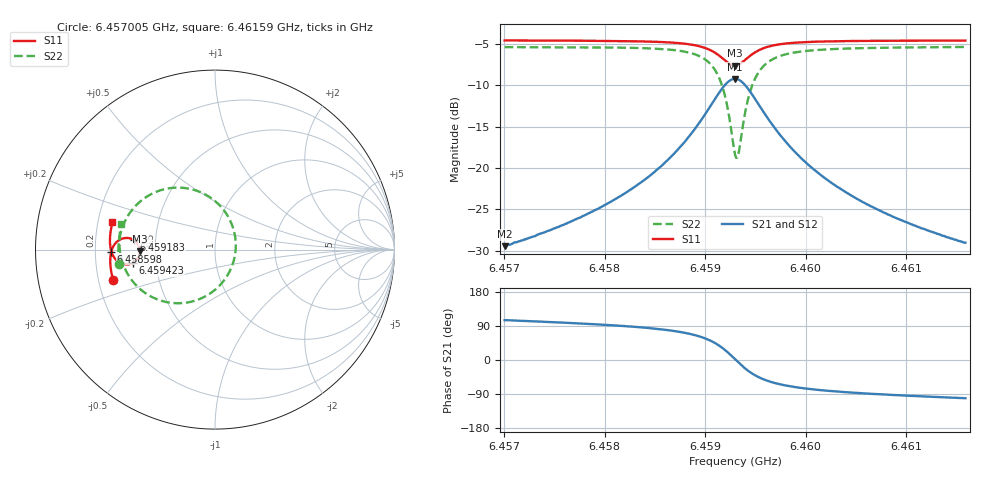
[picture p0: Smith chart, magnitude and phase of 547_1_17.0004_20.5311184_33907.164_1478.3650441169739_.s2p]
#  HZ  S  RI  R  50.00
! Rohde & Schwarz Vector Network Analyzer
! Rohde-Schwarz,ZNB20-2Port,1311601062101988,3.16
! Created: UTC 3/20/2024, 11:16:38 PM
! freq[Hz]  re:S11  im:S11  re:S21  im:S21  re:S12  im:S12  re:S22  im:S22
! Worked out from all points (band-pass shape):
!   401 points, 6.457005 GHz to 6.46159 GHz, reference 50 ohm
!   highest |S21| = -9.19 dB at 6.459297 GHz (marker M1); lowest = -29.4 dB at 6.457005 GHz (marker M2)
!   |S21| within 3 dB of the highest: 6.459068 GHz to 6.459527 GHz (458.8 kHz wide, 0.0071 % of centre)
!   lowest |S11| = -7.6 dB at 6.459297 GHz (marker M3), VSWR 2.43, Z = 20.6 - j0.447 ohm
!   |S11| at or under -10 dB: nowhere
!   |S22| runs from -18.8 to -5.3 dB; largest |S21 - S12| = 0.014
!   S11 on the Smith chart (normalised r, x): 6.457005 GHz: 0.26, -0.14; 6.458598 GHz: 0.27, -0.01; 6.459183 GHz: 0.37, +0.05; 6.459423 GHz: 0.37, -0.07; 6.46159 GHz: 0.26, +0.12
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6.4570045e9  -0.5673 -0.17  -0.00869 0.0326  -0.00705 0.0327  -0.5333 -0.0824
6.4577726e9  -0.581 -0.1028  -0.00549 0.0506  -0.00292 0.0499  -0.5383 0.00781
6.4582082e9  -0.5837 -0.059  0.000951 0.0709  0.00415 0.0694  -0.5292 0.0774
6.4585407e9  -0.5797 -0.0191  0.0146 0.0991  0.0186 0.0963  -0.504 0.1532
6.458598e9  -0.578 -0.0112  0.0191 0.106  0.023 0.1028  -0.4957 0.1697
6.4588044e9  -0.5648 0.0209  0.0467 0.1384  0.0509 0.1335  -0.4436 0.2424
6.4589534e9  -0.5421 0.0472  0.0921 0.1689  0.0954 0.1621  -0.3597 0.3069
6.459091e9  -0.4982 0.0645  0.1796 0.1854  0.1806 0.1779  -0.1995 0.3454
6.4591827e9  -0.4535 0.0544  0.2698 0.1538  0.2701 0.148  -0.0323 0.2944
6.4592515e9  -0.4243 0.0221  0.3305 0.0816  0.3326 0.0763  0.0835 0.164
6.4592973e9  -0.4174 -0.00898  0.3467 0.0134  0.3507 0.00639  0.1157 0.0361
6.4593088e9  -0.4179 -0.0171  0.3467 -0.00456  0.3506 -0.0122  0.1153 0.00221
6.4593317e9  -0.4215 -0.0328  0.3411 -0.0394  0.3449 -0.0485  0.104 -0.0639
6.4593776e9  -0.4371 -0.0589  0.3121 -0.0995  0.3144 -0.1114  0.0455 -0.1778
6.4594234e9  -0.4593 -0.0753  0.2698 -0.1407  0.2689 -0.154  -0.0402 -0.2529
6.4595151e9  -0.5027 -0.0821  0.1845 -0.1717  0.1783 -0.1834  -0.2106 -0.2988
6.4596642e9  -0.5467 -0.0616  0.0963 -0.1576  0.0875 -0.1638  -0.3791 -0.2484
6.4598247e9  -0.5684 -0.0339  0.0513 -0.1294  0.0436 -0.1323  -0.4595 -0.1757
6.4600654e9  -0.581 0.00176  0.0222 -0.0977  0.0162 -0.0982  -0.5075 -0.0926
6.4603979e9  -0.5855 0.0414  0.00636 -0.0714  0.00221 -0.0709  -0.5285 -0.0154
6.4608335e9  -0.5835 0.0853  -0.00159 -0.0521  -0.00441 -0.0511  -0.5327 0.0551
6.4615901e9  -0.5711 0.1524  -0.00667 -0.0347  -0.00825 -0.0337  -0.5212 0.1447
